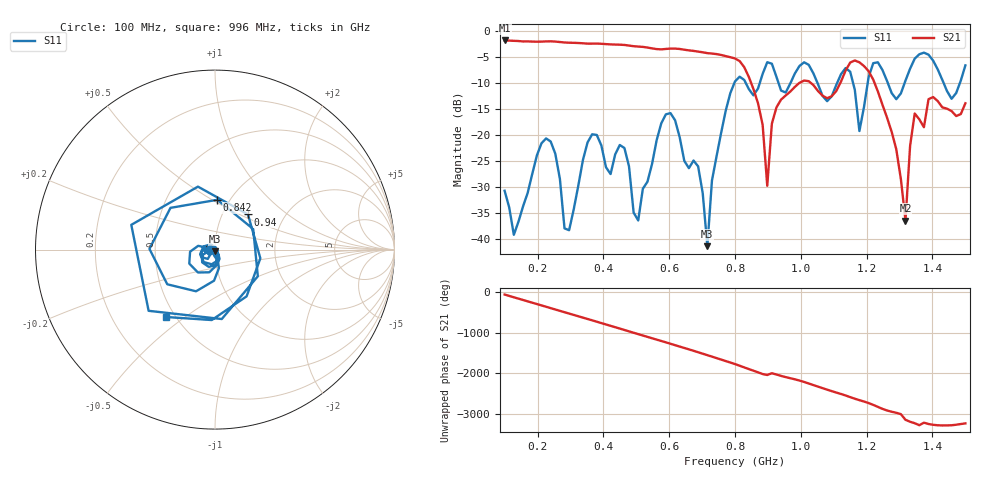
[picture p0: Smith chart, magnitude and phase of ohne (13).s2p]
! NanoVNA-App
! Date: 2025-09-25 14:20:54
! Start: 100MHz Stop: 1,5GHz Points: 101
! S-Parameter data: F S11 S21 S12 S22
# Hz S RI R 50
!  Frequency  S11_Real  S11_Imag  S21_Real  S21_Imag  S12_Real  S12_Imag  S22_Real  S22_Imag
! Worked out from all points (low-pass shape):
!   101 points, 100 MHz to 1.5 GHz, reference 50 ohm
!   highest |S21| = -1.79 dB at 100 MHz (marker M1); lowest = -36.4 dB at 1.318 GHz (marker M2)
!   |S21| within 3 dB of the highest: start of sweep to 771.4 MHz
!   lowest |S11| = -41.3 dB at 716 MHz (marker M3), VSWR 1.02, Z = 49.8 - j0.841 ohm
!   |S11| at or under -10 dB: start of sweep to 797.9 MHz; 833 MHz to 875.1 MHz (42.06 MHz wide, 4.93 % of centre); 1.051 GHz to 1.11 GHz (59.1 MHz wide, 5.47 % of centre) (the widest 3 of 7)
!   S12 and S22 are empty: the file has one direction only
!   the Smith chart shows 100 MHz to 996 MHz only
!   S11 on the Smith chart (normalised r, x): 100 MHz: 0.94, -0.01; 842 MHz: 0.88, +0.53; 940 MHz: 1.32, +0.56; 996 MHz: 0.45, -0.43
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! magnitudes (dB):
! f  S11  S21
! 100 MHz  -30.6  -1.8
! 128 MHz  -39.1  -1.9
! 226 MHz  -20.6  -2.0
! 296 MHz  -38.2  -2.2
! 338 MHz  -24.7  -2.3
! 464 MHz  -22.4  -2.7
! 506 MHz  -36.3  -3.0
! 576 MHz  -17.7  -3.5
! 688 MHz  -26.0  -3.9
! 716 MHz  -41.3  -4.2
! 800 MHz  -9.7  -5.3
! 842 MHz  -11.1  -8.8
! 898 MHz  -6.0  -29.7
! 940 MHz  -11.4  -13.1
! 996 MHz  -6.7  -9.9
! 1.038 GHz  -8.1  -10.3
! 1.178 GHz  -19.2  -6.0
! 1.22 GHz  -6.2  -9.3
! 1.276 GHz  -11.9  -19.3
! 1.318 GHz  -9.5  -36.4
! 1.346 GHz  -5.3  -15.8
! 1.5 GHz  -6.6  -13.9
